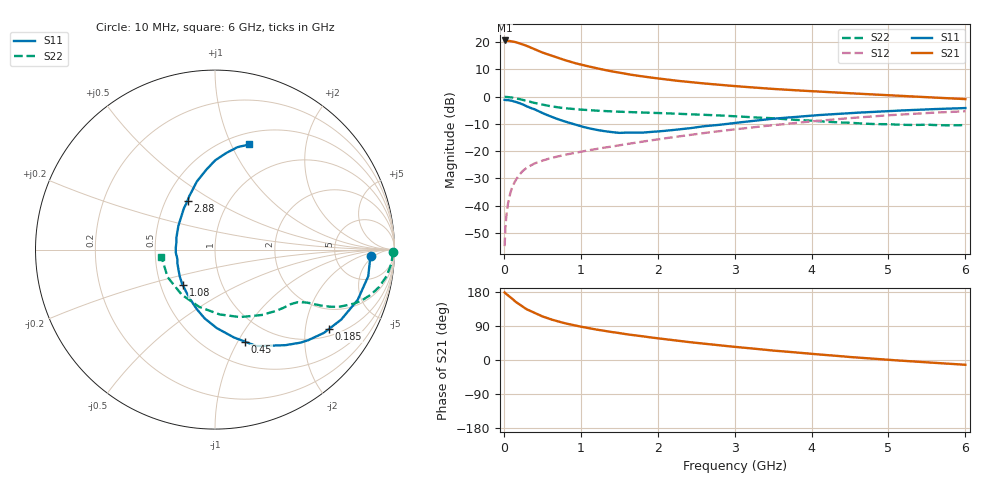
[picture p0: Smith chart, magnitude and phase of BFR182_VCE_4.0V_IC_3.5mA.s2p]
! Infineon Technologies  Discrete & RF Semiconductors
! BFR182
! VCE =  4.0 V,  IC =  3.5 mA
! Common Emitter S-Parameters:  Nov 2015
# GHz  S  MA  R  50
!  f  S11  S21  S12  S22
! GHz  MAG  ANG  MAG  ANG  MAG  ANG  MAG  ANG
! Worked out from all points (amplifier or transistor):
!   210 points, 10 MHz to 6 GHz, reference 50 ohm
!   highest |S21| = 20.6 dB at 10 MHz (marker M1)
!   |S21| within 3 dB of that: start of sweep to 381.3 MHz
!   unconditionally stable (mu >= 1): 1.244 GHz to 2.961 GHz
!   at 185 MHz: K = 0.26, MSG = 24.5 dB, |S12| = -29.3 dB
!   at 1.52 GHz: K = 1.05, MAG = 11.8 dB, |S12| = -17.8 dB
!   at 6 GHz: K = 0.88, MSG = 2.2 dB, |S12| = -5.4 dB
!   S11 on the Smith chart (normalised r, x): 10 MHz: 14, -4; 185 MHz: 1.22, -2.69; 450 MHz: 0.74, -1.08; 1.08 GHz: 0.65, -0.28; 2.88 GHz: 0.64, +0.39; 6 GHz: 0.62, +1.18
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0.01  0.8721 -2.2  10.73 178.3  0.0018 88.5  0.9924 -0.9
0.02  0.8656 -3.9  10.72 176.3  0.0039 89.7  0.9898 -1.9
0.04  0.8651 -7.9  10.64 173.0  0.008 85.3  0.9868 -3.7
0.1  0.8428 -19.4  10.39 163.1  0.02 78.8  0.9675 -8.8
0.15  0.8041 -29.0  10.02 154.1  0.0286 73.9  0.9371 -12.9
0.185  0.7741 -34.8  9.656 149.2  0.0341 71.6  0.914 -15.1
0.24  0.7242 -44.2  9.148 141.3  0.0423 67.5  0.8743 -18.4
0.3  0.6615 -53.6  8.513 133.5  0.0495 64.2  0.8293 -21.3
0.45  0.5405 -71.8  6.908 119.9  0.0631 58.8  0.7395 -25.5
0.5  0.501 -77.8  6.453 115.1  0.0668 57.8  0.7131 -26.5
0.6  0.4375 -88.7  5.779 107.9  0.0735 56.7  0.669 -27.8
0.7  0.3868 -98.7  5.178 101.8  0.0796 56.0  0.6356 -28.7
0.8  0.3473 -106.9  4.641 96.6  0.0858 55.7  0.6106 -29.3
1.02  0.2805 -126.1  3.809 87.3  0.0984 56.3  0.5751 -30.7
1.08  0.2678 -131.9  3.641 85.0  0.1021 56.6  0.5673 -31.2
1.6  0.2191 -175.5  2.595 67.8  0.1347 58.7  0.5212 -35.5
2.02  0.2305 155.8  2.14 56.7  0.166 59.0  0.4998 -40.6
2.88  0.3133 119.2  1.615 37.2  0.2393 56.2  0.4456 -54.9
3.1  0.3406 113.5  1.522 32.8  0.2601 54.7  0.4274 -59.6
4.1  0.4587 94.6  1.235 14.6  0.3612 45.8  0.353 -89.4
5.1  0.5508 82.0  1.044 -0.9  0.4635 33.7  0.3067 -131.1
6  0.6166 71.9  0.9 -12.7  0.5381 20.4  0.3009 -172.2
